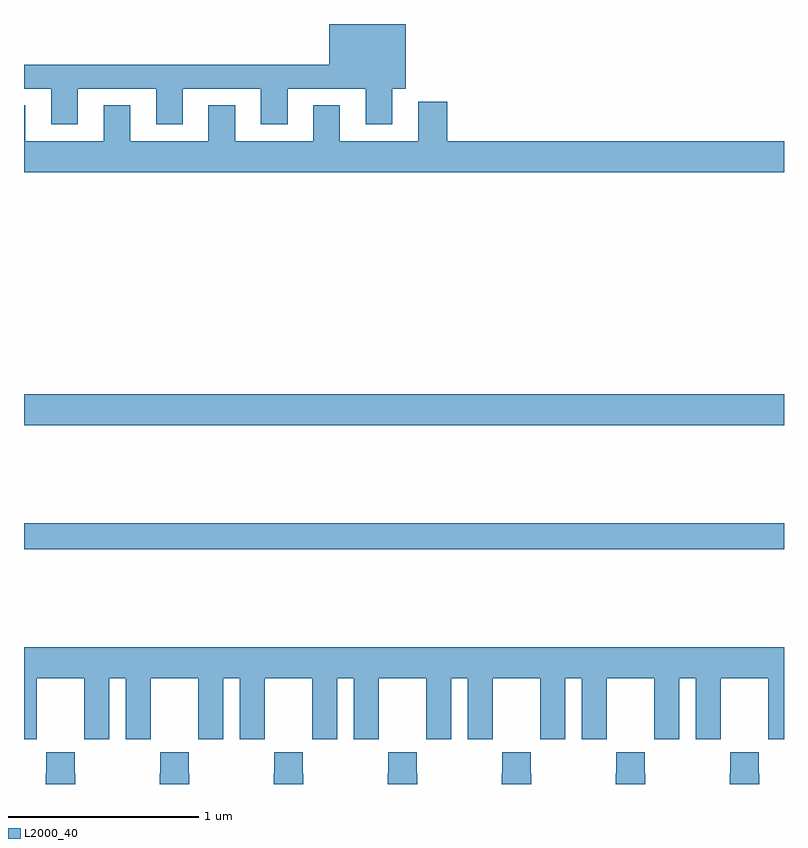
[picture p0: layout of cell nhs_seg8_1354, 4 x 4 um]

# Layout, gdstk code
import gdstk
lib = gdstk.Library(unit=1e-6, precision=1e-09)
def R(c, l, rs):  # rectangles x0, y0, x1, y1
    for r in rs: c.add(gdstk.rectangle(r[:2], r[2:], *l))
def P(c, l, *ps):  # polygons
    for p in ps: c.add(gdstk.Polygon(p, *l))
L2000_40 = (2000, 40)

nhs_seg8_1354 = lib.new_cell('nhs_seg8_1354')
R(nhs_seg8_1354, L2000_40, [(195,1161.136,199,1161.272), (195,1161.788,199,1161.952)])
P(nhs_seg8_1354, L2000_40, [(195.283,1163.558),(195.695,1163.558),(195.695,1163.373),(195.835,1163.373),(195.835,1163.558),(196.247,1163.558),(196.247,1163.373),(196.387,1163.373),(196.387,1163.558),(196.799,1163.558),(196.799,1163.373),(196.939,1163.373),(196.939,1163.558),(197.008,1163.558),(197.008,1163.9),(196.607,1163.9),(196.607,1163.686),(195,1163.686),(195,1163.558),(195.143,1163.558),(195.143,1163.373),(195.283,1163.373)],
  [(199,1163.284),(197.228,1163.284),(197.228,1163.491),(197.075,1163.491),(197.075,1163.284),(196.663,1163.284),(196.663,1163.473),(196.523,1163.473),(196.523,1163.284),(196.111,1163.284),(196.111,1163.473),(195.971,1163.473),(195.971,1163.284),(195.559,1163.284),(195.559,1163.473),(195.419,1163.473),(195.419,1163.284),(195.007,1163.284),(195.007,1163.473),(195,1163.473),(195,1163.12),(199,1163.12)],
  [(195,1160.136),(195.066,1160.136),(195.066,1160.248),(195.067,1160.248),(195.067,1160.456),(195.317,1160.456),(195.317,1160.248),(195.318,1160.248),(195.318,1160.136),(195.448,1160.136),(195.448,1160.456),(195.536,1160.456),(195.536,1160.136),(195.666,1160.136),(195.666,1160.248),(195.667,1160.248),(195.667,1160.456),(195.917,1160.456),(195.917,1160.248),(195.918,1160.248),(195.918,1160.136),(196.048,1160.136),(196.048,1160.456),(196.136,1160.456),(196.136,1160.136),(196.266,1160.136),(196.266,1160.248),(196.267,1160.248),(196.267,1160.456),(196.517,1160.456),(196.517,1160.248),(196.518,1160.248),(196.518,1160.136),(196.648,1160.136),(196.648,1160.456),(196.736,1160.456),(196.736,1160.136),(196.866,1160.136),(196.866,1160.248),(196.867,1160.248),(196.867,1160.456),(197.117,1160.456),(197.117,1160.248),(197.118,1160.248),(197.118,1160.136),(197.248,1160.136),(197.248,1160.456),(197.336,1160.456),(197.336,1160.136),(197.466,1160.136),(197.466,1160.248),(197.467,1160.248),(197.467,1160.456),(197.717,1160.456),(197.717,1160.248),(197.718,1160.248),(197.718,1160.136),(197.848,1160.136),(197.848,1160.456),(197.936,1160.456),(197.936,1160.136),(198.066,1160.136),(198.066,1160.248),(198.067,1160.248),(198.067,1160.456),(198.317,1160.456),(198.317,1160.248),(198.318,1160.248),(198.318,1160.136),(198.448,1160.136),(198.448,1160.456),(198.536,1160.456),(198.536,1160.136),(198.666,1160.136),(198.666,1160.248),(198.667,1160.248),(198.667,1160.456),(198.917,1160.456),(198.917,1160.248),(198.918,1160.248),(198.918,1160.136),(199,1160.136),(199,1160.62),(195,1160.62)],
  [(198.87,1159.955),(198.867,1159.955),(198.867,1160.068),(198.717,1160.068),(198.717,1159.955),(198.715,1159.955),(198.715,1159.9),(198.87,1159.9)],
  [(198.27,1159.955),(198.267,1159.955),(198.267,1160.068),(198.117,1160.068),(198.117,1159.955),(198.115,1159.955),(198.115,1159.9),(198.27,1159.9)],
  [(197.67,1159.955),(197.667,1159.955),(197.667,1160.068),(197.517,1160.068),(197.517,1159.955),(197.515,1159.955),(197.515,1159.9),(197.67,1159.9)],
  [(197.07,1159.955),(197.067,1159.955),(197.067,1160.068),(196.917,1160.068),(196.917,1159.955),(196.915,1159.955),(196.915,1159.9),(197.07,1159.9)],
  [(196.47,1159.955),(196.467,1159.955),(196.467,1160.068),(196.317,1160.068),(196.317,1159.955),(196.315,1159.955),(196.315,1159.9),(196.47,1159.9)],
  [(195.87,1159.955),(195.867,1159.955),(195.867,1160.068),(195.717,1160.068),(195.717,1159.955),(195.715,1159.955),(195.715,1159.9),(195.87,1159.9)],
  [(195.27,1159.955),(195.267,1159.955),(195.267,1160.068),(195.117,1160.068),(195.117,1159.955),(195.115,1159.955),(195.115,1159.9),(195.27,1159.9)])

lib.write_gds('nhs_seg8_1354.gds')
